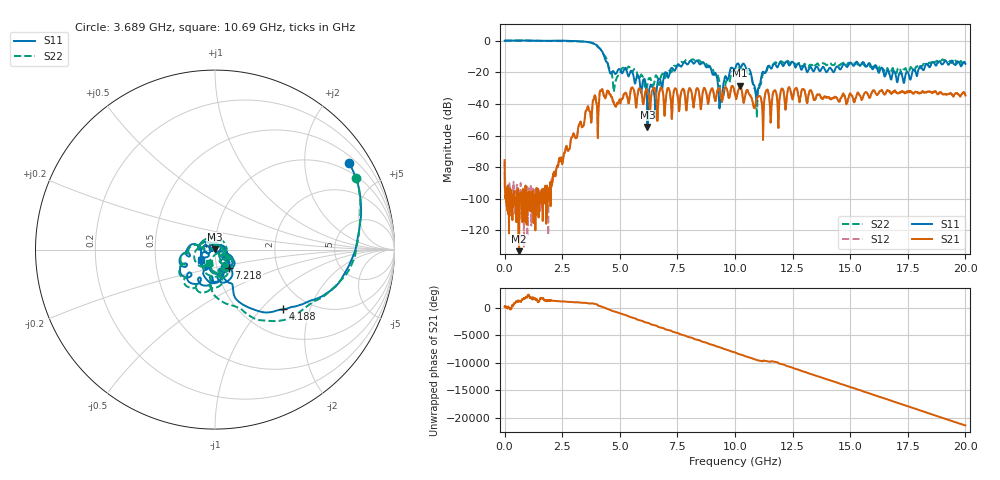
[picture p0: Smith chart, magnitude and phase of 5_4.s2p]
#  HZ  S  RI  R  50.00
! Rohde & Schwarz Vector Network Analyzer
! Rohde-Schwarz,ZNB20-2Port,1311601062102128,3.60
! Created: UTC 4/29/2024, 2:53:37 PM
! freq[Hz]  re:S11  im:S11  re:S21  im:S21  re:S12  im:S12  re:S22  im:S22
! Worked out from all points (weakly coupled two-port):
!   2007 points, 100 kHz to 20 GHz, reference 50 ohm
!   highest |S21| = -28.51 dB at 10.22 GHz (marker M1); lowest = -133.2 dB at 628.2 MHz (marker M2)
!   lowest |S11| = -54.5 dB at 6.201 GHz (marker M3), VSWR 1.00, Z = 49.9 + j0.142 ohm
!   |S11| at or under -10 dB: 4.324 GHz to end of sweep
!   |S22| runs from -48.6 to 0.1 dB; largest |S21 - S12| = 0.0021
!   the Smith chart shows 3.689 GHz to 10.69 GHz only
!   S11 on the Smith chart (normalised r, x): 3.689 GHz: 0.70, +3.27; 4.188 GHz: 1.50, -1.33; 7.218 GHz: 1.14, -0.24; 10.69 GHz: 0.85, -0.10
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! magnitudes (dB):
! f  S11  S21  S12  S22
! 100 kHz  0.0  -75.5  -76.5  0.1
! 628.2 MHz  0.1  -133.2  -97.0  0.0
! 2.233 GHz  0.0  -81.6  -83.0  -0.3
! 3.34 GHz  -0.6  -54.0  -53.7  -0.6
! 3.689 GHz  -1.0  -44.7  -44.7  -1.1
! 4.188 GHz  -6.0  -31.9  -32.1  -6.0
! 4.766 GHz  -20.3  -40.3  -40.4  -29.7
! 5.374 GHz  -22.5  -39.7  -39.6  -16.4
! 6.201 GHz  -54.5  -32.3  -32.4  -27.7
! 6.67 GHz  -24.7  -39.0  -39.0  -25.5
! 7.218 GHz  -17.7  -38.1  -38.1  -20.2
! 8.624 GHz  -13.7  -31.4  -31.3  -14.2
! 9.153 GHz  -20.6  -38.2  -38.1  -21.9
! 9.382 GHz  -36.2  -34.2  -34.2  -35.0
! 10 GHz  -18.1  -33.6  -33.5  -20.2
! 10.22 GHz  -16.5  -28.5  -28.5  -17.4
! 10.69 GHz  -20.4  -35.5  -35.5  -21.6
! 10.93 GHz  -37.5  -37.5  -37.5  -37.6
! 11.71 GHz  -14.5  -31.7  -31.8  -14.1
! 13.34 GHz  -18.0  -32.7  -32.7  -15.3
! 16.67 GHz  -19.1  -31.8  -31.8  -20.5
! 20 GHz  -14.6  -34.7  -34.6  -14.3
